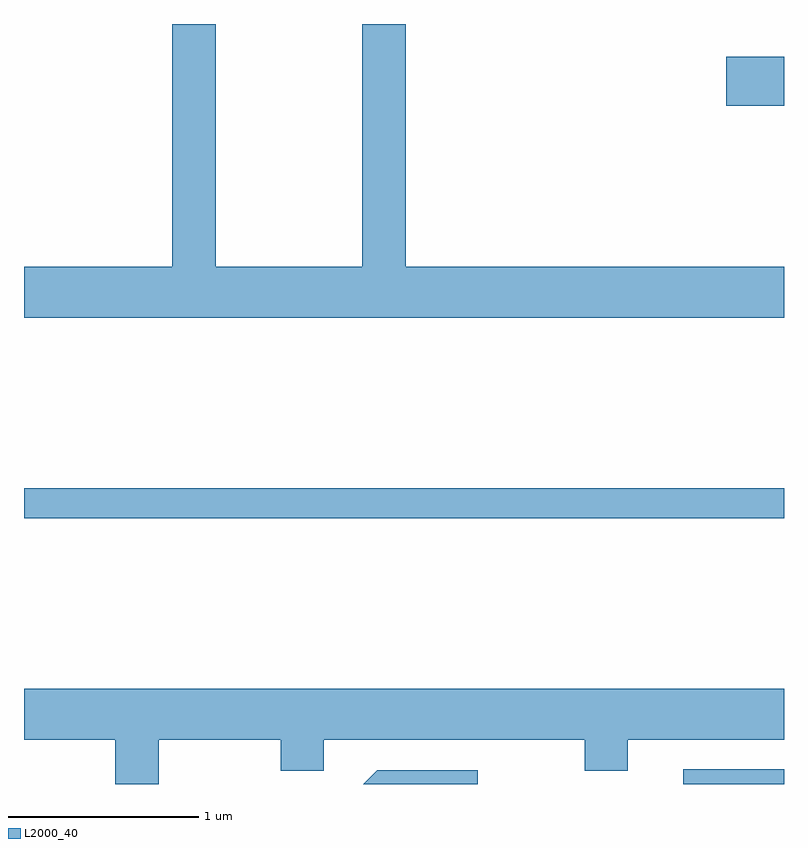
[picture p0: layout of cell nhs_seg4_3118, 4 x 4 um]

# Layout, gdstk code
import gdstk
lib = gdstk.Library(unit=1e-6, precision=1e-09)
def R(c, l, rs):  # rectangles x0, y0, x1, y1
    for r in rs: c.add(gdstk.rectangle(r[:2], r[2:], *l))
def P(c, l, *ps):  # polygons
    for p in ps: c.add(gdstk.Polygon(p, *l))
L2000_40 = (2000, 40)

nhs_seg4_3118 = lib.new_cell('nhs_seg4_3118')
R(nhs_seg4_3118, L2000_40, [(279.081,1369.982,279.611,1370.059), (275.611,1371.381,279.611,1371.539), (279.306,1373.551,279.611,1373.809)])
P(nhs_seg4_3118, L2000_40, [(279.611,1372.704),(277.619,1372.704),(277.619,1373.982),(277.391,1373.982),(277.391,1372.704),(276.619,1372.704),(276.619,1373.982),(276.391,1373.982),(276.391,1372.704),(275.611,1372.704),(275.611,1372.436),(279.611,1372.436)],
  [(276.319,1370.216),(276.961,1370.216),(276.961,1370.051),(277.189,1370.051),(277.189,1370.216),(278.561,1370.216),(278.561,1370.051),(278.789,1370.051),(278.789,1370.216),(279.611,1370.216),(279.611,1370.484),(275.611,1370.484),(275.611,1370.216),(276.091,1370.216),(276.091,1369.982),(276.319,1369.982)],
  [(277.998,1370.054),(277.469,1370.054),(277.397,1369.982),(277.998,1369.982)])

lib.write_gds('nhs_seg4_3118.gds')
